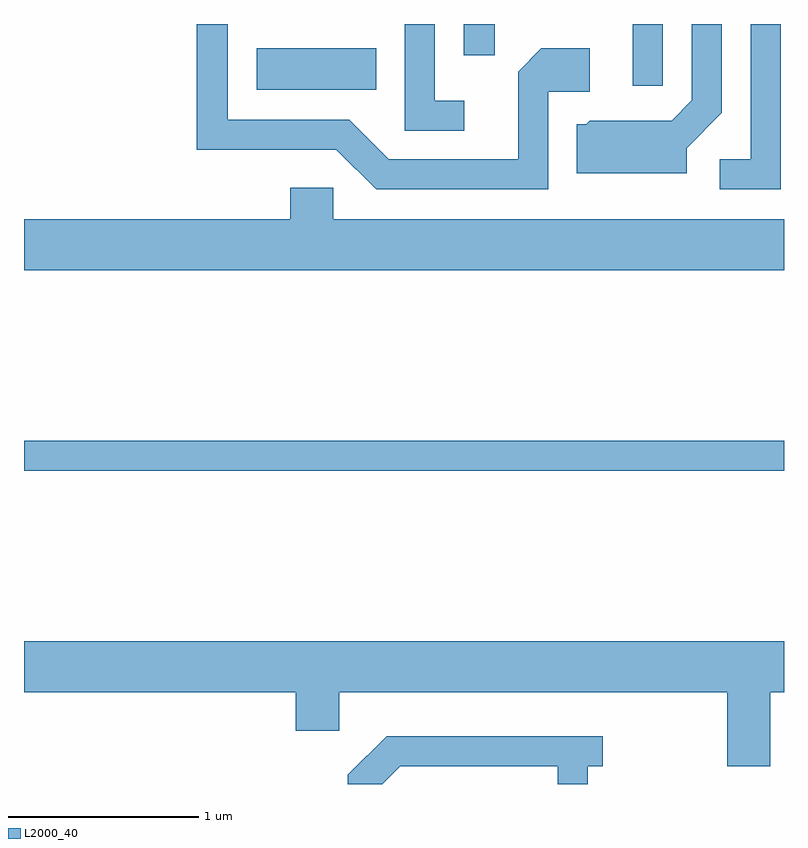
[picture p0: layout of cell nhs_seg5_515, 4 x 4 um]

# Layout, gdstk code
import gdstk
lib = gdstk.Library(unit=1e-6, precision=1e-09)
def R(c, l, rs):  # rectangles x0, y0, x1, y1
    for r in rs: c.add(gdstk.rectangle(r[:2], r[2:], *l))
def P(c, l, *ps):  # polygons
    for p in ps: c.add(gdstk.Polygon(p, *l))
L2000_40 = (2000, 40)

nhs_seg5_515 = lib.new_cell('nhs_seg5_515')
R(nhs_seg5_515, L2000_40, [(199.611,1475.721,203.611,1475.879), (200.836,1477.726,201.464,1477.944), (202.816,1477.748,202.974,1478.072), (201.926,1477.908,202.089,1478.072)])
P(nhs_seg5_515, L2000_40, [(203.099,1477.419),(203.284,1477.604),(203.284,1478.072),(203.126,1478.072),(203.126,1477.672),(203.019,1477.564),(202.589,1477.564),(202.569,1477.544),(202.521,1477.544),(202.521,1477.286),(203.099,1477.286)],
  [(202.369,1477.716),(202.589,1477.716),(202.589,1477.944),(202.334,1477.944),(202.211,1477.822),(202.211,1477.359),(201.532,1477.359),(201.322,1477.569),(200.684,1477.569),(200.684,1478.072),(200.521,1478.072),(200.521,1477.411),(201.254,1477.411),(201.464,1477.201),(202.369,1477.201)],
  [(201.928,1477.669),(201.774,1477.669),(201.774,1478.072),(201.616,1478.072),(201.616,1477.511),(201.928,1477.511)],
  [(203.594,1478.072),(203.436,1478.072),(203.436,1477.359),(203.273,1477.359),(203.273,1477.201),(203.594,1477.201)],
  [(203.611,1477.044),(201.239,1477.044),(201.239,1477.209),(201.011,1477.209),(201.011,1477.044),(199.611,1477.044),(199.611,1476.776),(203.611,1476.776)],
  [(203.539,1474.556),(203.611,1474.556),(203.611,1474.824),(199.611,1474.824),(199.611,1474.556),(201.041,1474.556),(201.041,1474.351),(201.269,1474.351),(201.269,1474.556),(203.311,1474.556),(203.311,1474.166),(203.539,1474.166)],
  [(201.592,1474.166),(202.421,1474.166),(202.421,1474.072),(202.579,1474.072),(202.579,1474.166),(202.658,1474.166),(202.658,1474.324),(201.519,1474.324),(201.316,1474.122),(201.316,1474.072),(201.497,1474.072)])

lib.write_gds('nhs_seg5_515.gds')
